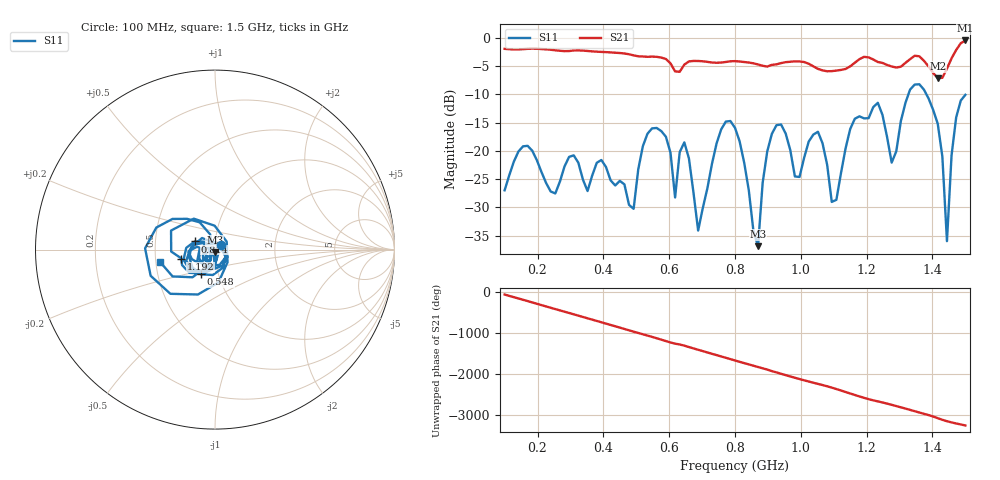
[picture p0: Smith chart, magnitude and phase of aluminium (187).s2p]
! NanoVNA-App
! Date: 2025-09-25 14:56:44
! Start: 100MHz Stop: 1,5GHz Points: 101
! S-Parameter data: F S11 S21 S12 S22
# Hz S RI R 50
!  Frequency  S11_Real  S11_Imag  S21_Real  S21_Imag  S12_Real  S12_Imag  S22_Real  S22_Imag
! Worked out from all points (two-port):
!   101 points, 100 MHz to 1.5 GHz, reference 50 ohm
!   highest |S21| = -0.44 dB at 1.5 GHz (marker M1); lowest = -7.1 dB at 1.416 GHz (marker M2)
!   |S21| within 3 dB of the highest: start of sweep to 573 MHz; 1.46 GHz to end of sweep (the widest 2 of 4)
!   lowest |S11| = -36.8 dB at 870 MHz (marker M3), VSWR 1.03, Z = 49.9 - j1.43 ohm
!   |S11| at or under -10 dB: start of sweep to 1.327 GHz; 1.382 GHz to end of sweep
!   S12 and S22 are empty: the file has one direction only
!   S11 on the Smith chart (normalised r, x): 100 MHz: 1.07, +0.06; 548 MHz: 0.82, -0.23; 814 MHz: 0.79, +0.07; 1.192 GHz: 0.68, -0.07; 1.5 GHz: 0.53, -0.08
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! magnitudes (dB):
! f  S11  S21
! 100 MHz  -27.0  -1.9
! 338 MHz  -25.1  -2.2
! 492 MHz  -30.2  -3.1
! 548 MHz  -16.0  -3.3
! 576 MHz  -16.5  -3.5
! 618 MHz  -28.2  -5.9
! 646 MHz  -18.5  -4.7
! 688 MHz  -34.1  -4.1
! 800 MHz  -15.9  -4.1
! 814 MHz  -18.3  -4.2
! 870 MHz  -36.8  -4.7
! 912 MHz  -17.0  -4.8
! 996 MHz  -24.6  -4.2
! 1.038 GHz  -17.1  -5.0
! 1.094 GHz  -29.0  -5.9
! 1.192 GHz  -14.2  -3.3
! 1.276 GHz  -22.1  -5.0
! 1.346 GHz  -8.2  -3.1
! 1.416 GHz  -15.2  -7.1
! 1.444 GHz  -36.0  -5.4
! 1.472 GHz  -14.0  -2.1
! 1.5 GHz  -10.1  -0.4
